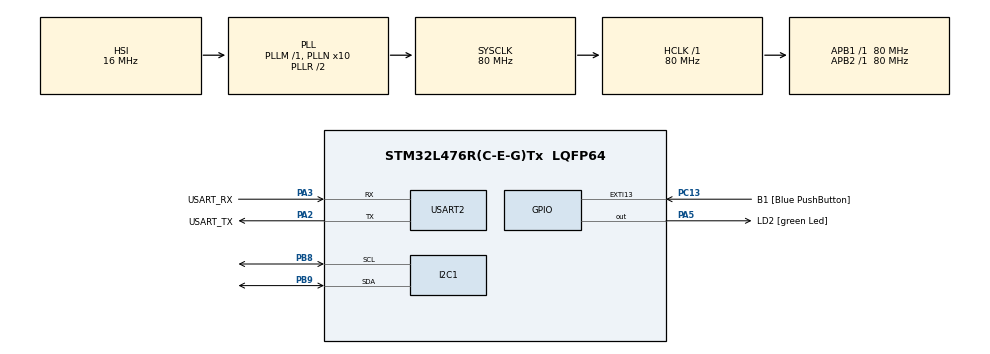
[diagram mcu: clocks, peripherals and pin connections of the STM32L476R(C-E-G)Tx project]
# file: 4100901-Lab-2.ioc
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I2C1.Timing=0x10D19CE4
Mcu.Family=STM32L4
Mcu.Name=STM32L476R(C-E-G)Tx
Mcu.Package=LQFP64
NVIC.EXTI15_10_IRQn=true\:0\:0\:false\:false\:true\:true\:true\:true
NVIC.PriorityGroup=NVIC_PRIORITYGROUP_4
NVIC.USART2_IRQn=true\:0\:0\:false\:false\:true\:true\:true\:true
PA13\ (JTMS-SWDIO).GPIO_Label=TMS
PA13\ (JTMS-SWDIO).Mode=Serial_Wire
PA13\ (JTMS-SWDIO).Signal=SYS_JTMS-SWDIO
PA14\ (JTCK-SWCLK).GPIO_Label=TCK
PA14\ (JTCK-SWCLK).Mode=Serial_Wire
PA14\ (JTCK-SWCLK).Signal=SYS_JTCK-SWCLK
PA2.GPIO_Label=USART_TX
PA2.GPIO_Mode=GPIO_MODE_AF_PP
PA2.GPIO_PuPd=GPIO_NOPULL
PA2.GPIO_Speed=GPIO_SPEED_FREQ_VERY_HIGH
PA2.Mode=Asynchronous
PA2.Signal=USART2_TX
PA3.GPIO_Label=USART_RX
PA3.GPIO_Mode=GPIO_MODE_AF_PP
PA3.GPIO_PuPd=GPIO_NOPULL
PA3.GPIO_Speed=GPIO_SPEED_FREQ_VERY_HIGH
PA3.Mode=Asynchronous
PA3.Signal=USART2_RX
PA5.GPIO_Label=LD2 [green Led]
PA5.GPIO_ModeDefaultOutputPP=GPIO_MODE_OUTPUT_PP
PA5.GPIO_PuPd=GPIO_NOPULL
PA5.GPIO_Speed=GPIO_SPEED_FREQ_LOW
PA5.Signal=GPIO_Output
PB3\ (JTDO-TRACESWO).GPIO_Label=SWO
PB3\ (JTDO-TRACESWO).Signal=SYS_JTDO-SWO
PB8.Mode=I2C
PB8.Signal=I2C1_SCL
PB9.Mode=I2C
PB9.Signal=I2C1_SDA
PC13.GPIO_Label=B1 [Blue PushButton]
PC13.GPIO_ModeDefaultEXTI=GPIO_MODE_IT_FALLING
PC13.GPIO_PuPd=GPIO_NOPULL
PC13.Signal=GPXTI13
PC14-OSC32_IN\ (PC14).Mode=LSE-External-Oscillator
PC14-OSC32_IN\ (PC14).Signal=RCC_OSC32_IN
PC15-OSC32_OUT\ (PC15).Mode=LSE-External-Oscillator
PC15-OSC32_OUT\ (PC15).Signal=RCC_OSC32_OUT
PH0-OSC_IN\ (PH0).Signal=RCC_OSC_IN
PH1-OSC_OUT\ (PH1).Signal=RCC_OSC_OUT
ProjectManager.HeapSize=0x200
ProjectManager.StackSize=0x400
ProjectManager.TargetToolchain=CMake
RCC.ADCFreq_Value=64000000
RCC.AHBFreq_Value=80000000
RCC.APB1Freq_Value=80000000
RCC.APB1TimFreq_Value=80000000
RCC.APB2Freq_Value=80000000
RCC.APB2TimFreq_Value=80000000
RCC.CortexFreq_Value=80000000
RCC.HCLKFreq_Value=80000000
RCC.HSE_VALUE=8000000
RCC.HSI_VALUE=16000000
RCC.MSI_VALUE=4000000
RCC.PLLN=10
RCC.PLLSourceVirtual=RCC_PLLSOURCE_HSI
RCC.PREFETCH_ENABLE=1
RCC.SYSCLKFreq_VALUE=80000000
RCC.SYSCLKSource=RCC_SYSCLKSOURCE_PLLCLK
RCC.USBFreq_Value=64000000
RCC.VCOOutputFreq_Value=160000000
USART2.VirtualMode-Asynchronous=VM_ASYNC
board=NUCLEO-L476RG

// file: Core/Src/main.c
/* USER CODE BEGIN Header */
/**
  ******************************************************************************
  * @file           : main.c
  * @brief          : Main program body
  ******************************************************************************
  * @attention
  *
  * Copyright (c) 2025 STMicroelectronics.
  * All rights reserved.
  *
  * This software is licensed under terms that can be found in the LICENSE file
  * in the root directory of this software component.
  * If no LICENSE file comes with this software, it is provided AS-IS.
  *
  ******************************************************************************
  */
/* USER CODE END Header */
#include "main.h"

/* USER CODE BEGIN Includes */
#include <stdio.h>
#include "ssd1306.h"
#include "ssd1306_fonts.h"

/* USER CODE END Includes */

I2C_HandleTypeDef hi2c1;

UART_HandleTypeDef huart2;

/* USER CODE BEGIN PV */
uint8_t button_pressed = 0;

/* USER CODE END PV */

void SystemClock_Config(void);
static void MX_GPIO_Init(void);
static void MX_I2C1_Init(void);
static void MX_USART2_UART_Init(void);
/* USER CODE BEGIN PFP */
void low_power_sleep_mode(void);

/* USER CODE END PFP */

/* USER CODE BEGIN 0 */
int _write(int file, char *ptr, int len)
{
  (void)file;
  HAL_UART_Transmit(&huart2, (uint8_t *)ptr, len, 10);
  return len;
}

void HAL_GPIO_EXTI_Callback(uint16_t GPIO_Pin)
{
	if (GPIO_Pin == B1_Pin) {
		button_pressed = 1;
	}
}

void hearbeat(void)
{
	static uint32_t tick = 0;
	if (tick < HAL_GetTick()) {
		tick = HAL_GetTick() + 500;
		HAL_GPIO_TogglePin(LD2_GPIO_Port, LD2_Pin);
	}
}
/* USER CODE END 0 */

int main(void)
{

  /* MCU Configuration--------------------------------------------------------*/

  /* Reset of all peripherals, Initializes the Flash interface and the Systick. */
  HAL_Init();

  /* Configure the system clock */
  SystemClock_Config();

  /* Initialize all configured peripherals */
  MX_GPIO_Init();
  MX_I2C1_Init();
  MX_USART2_UART_Init();
  /* USER CODE BEGIN 2 */
  ssd1306_Init();
  ssd1306_Fill(Black);
  ssd1306_UpdateScreen();

  /* USER CODE END 2 */

  /* Infinite loop */
  /* USER CODE BEGIN WHILE */
  uint8_t press_count = 0;
  char str[2] = {press_count + '0', 0};

  ssd1306_SetCursor(50, 30);
  ssd1306_WriteString(str, Font_11x18, White);
  ssd1306_UpdateScreen();
  printf("Press count: %d\n", press_count);
  while (1) {
    hearbeat();
    if (button_pressed != 0) {
      press_count = (press_count + 1) % 10;
      button_pressed = 0;
      str[0] = press_count + '0';

      ssd1306_SetCursor(50, 30);
      ssd1306_WriteString(str, Font_11x18, White);
      ssd1306_UpdateScreen();
      printf("Press count: %d\n", press_count);
    }
    /* USER CODE END WHILE */

    /* USER CODE BEGIN 3 */
#define LOW_POWER_MODE 0 // 0: Normal, 1: Low Power Mode
#if LOW_POWER_MODE
    low_power_sleep_mode();
#endif
  }
  /* USER CODE END 3 */
}

void SystemClock_Config(void)
{
  RCC_OscInitTypeDef RCC_OscInitStruct = {0};
  RCC_ClkInitTypeDef RCC_ClkInitStruct = {0};

  /** Configure the main internal regulator output voltage
  */
  if (HAL_PWREx_ControlVoltageScaling(PWR_REGULATOR_VOLTAGE_SCALE1) != HAL_OK)
  {
    Error_Handler();
  }

  /** Initializes the RCC Oscillators according to the specified parameters
  * in the RCC_OscInitTypeDef structure.
  */
  RCC_OscInitStruct.OscillatorType = RCC_OSCILLATORTYPE_HSI;
  RCC_OscInitStruct.HSIState = RCC_HSI_ON;
  RCC_OscInitStruct.HSICalibrationValue = RCC_HSICALIBRATION_DEFAULT;
  RCC_OscInitStruct.PLL.PLLState = RCC_PLL_ON;
  RCC_OscInitStruct.PLL.PLLSource = RCC_PLLSOURCE_HSI;
  RCC_OscInitStruct.PLL.PLLM = 1;
  RCC_OscInitStruct.PLL.PLLN = 10;
  RCC_OscInitStruct.PLL.PLLP = RCC_PLLP_DIV7;
  RCC_OscInitStruct.PLL.PLLQ = RCC_PLLQ_DIV2;
  RCC_OscInitStruct.PLL.PLLR = RCC_PLLR_DIV2;
  if (HAL_RCC_OscConfig(&RCC_OscInitStruct) != HAL_OK)
  {
    Error_Handler();
  }

  /** Initializes the CPU, AHB and APB buses clocks
  */
  RCC_ClkInitStruct.ClockType = RCC_CLOCKTYPE_HCLK|RCC_CLOCKTYPE_SYSCLK
                              |RCC_CLOCKTYPE_PCLK1|RCC_CLOCKTYPE_PCLK2;
  RCC_ClkInitStruct.SYSCLKSource = RCC_SYSCLKSOURCE_PLLCLK;
  RCC_ClkInitStruct.AHBCLKDivider = RCC_SYSCLK_DIV1;
  RCC_ClkInitStruct.APB1CLKDivider = RCC_HCLK_DIV1;
  RCC_ClkInitStruct.APB2CLKDivider = RCC_HCLK_DIV1;

  if (HAL_RCC_ClockConfig(&RCC_ClkInitStruct, FLASH_LATENCY_4) != HAL_OK)
  {
    Error_Handler();
  }
}

static void MX_I2C1_Init(void)
{

  hi2c1.Instance = I2C1;
  hi2c1.Init.Timing = 0x10D19CE4;
  hi2c1.Init.OwnAddress1 = 0;
  hi2c1.Init.AddressingMode = I2C_ADDRESSINGMODE_7BIT;
  hi2c1.Init.DualAddressMode = I2C_DUALADDRESS_DISABLE;
  hi2c1.Init.OwnAddress2 = 0;
  hi2c1.Init.OwnAddress2Masks = I2C_OA2_NOMASK;
  hi2c1.Init.GeneralCallMode = I2C_GENERALCALL_DISABLE;
  hi2c1.Init.NoStretchMode = I2C_NOSTRETCH_DISABLE;
  if (HAL_I2C_Init(&hi2c1) != HAL_OK)
  {
    Error_Handler();
  }

  /** Configure Analogue filter
  */
  if (HAL_I2CEx_ConfigAnalogFilter(&hi2c1, I2C_ANALOGFILTER_ENABLE) != HAL_OK)
  {
    Error_Handler();
  }

  /** Configure Digital filter
  */
  if (HAL_I2CEx_ConfigDigitalFilter(&hi2c1, 0) != HAL_OK)
  {
    Error_Handler();
  }

}

static void MX_USART2_UART_Init(void)
{

  huart2.Instance = USART2;
  huart2.Init.BaudRate = 115200;
  huart2.Init.WordLength = UART_WORDLENGTH_8B;
  huart2.Init.StopBits = UART_STOPBITS_1;
  huart2.Init.Parity = UART_PARITY_NONE;
  huart2.Init.Mode = UART_MODE_TX_RX;
  huart2.Init.HwFlowCtl = UART_HWCONTROL_NONE;
  huart2.Init.OverSampling = UART_OVERSAMPLING_16;
  huart2.Init.OneBitSampling = UART_ONE_BIT_SAMPLE_DISABLE;
  huart2.AdvancedInit.AdvFeatureInit = UART_ADVFEATURE_NO_INIT;
  if (HAL_UART_Init(&huart2) != HAL_OK)
  {
    Error_Handler();
  }

}

static void MX_GPIO_Init(void)
{
  GPIO_InitTypeDef GPIO_InitStruct = {0};

  /* GPIO Ports Clock Enable */
  __HAL_RCC_GPIOC_CLK_ENABLE();
  __HAL_RCC_GPIOH_CLK_ENABLE();
  __HAL_RCC_GPIOA_CLK_ENABLE();
  __HAL_RCC_GPIOB_CLK_ENABLE();

  /*Configure GPIO pin Output Level */
  HAL_GPIO_WritePin(LD2_GPIO_Port, LD2_Pin, GPIO_PIN_RESET);

  /*Configure GPIO pin : B1_Pin */
  GPIO_InitStruct.Pin = B1_Pin;
  GPIO_InitStruct.Mode = GPIO_MODE_IT_FALLING;
  GPIO_InitStruct.Pull = GPIO_NOPULL;
  HAL_GPIO_Init(B1_GPIO_Port, &GPIO_InitStruct);

  /*Configure GPIO pin : LD2_Pin */
  GPIO_InitStruct.Pin = LD2_Pin;
  GPIO_InitStruct.Mode = GPIO_MODE_OUTPUT_PP;
  GPIO_InitStruct.Pull = GPIO_NOPULL;
  GPIO_InitStruct.Speed = GPIO_SPEED_FREQ_LOW;
  HAL_GPIO_Init(LD2_GPIO_Port, &GPIO_InitStruct);

  /* EXTI interrupt init*/
  HAL_NVIC_SetPriority(EXTI15_10_IRQn, 0, 0);
  HAL_NVIC_EnableIRQ(EXTI15_10_IRQn);

}

/* USER CODE BEGIN 4 */
void low_power_sleep_mode(void)
{
#define AWAKE_TIME (5 * 1000) // 5 segundos
	static uint32_t sleep_tick = AWAKE_TIME;

	if (sleep_tick > HAL_GetTick()) {
		return;
	}
	printf("Sleeping\r\n");
	sleep_tick = HAL_GetTick() + AWAKE_TIME;

	RCC->AHB1SMENR  = 0x0;
	RCC->AHB2SMENR  = 0x0;
	RCC->AHB3SMENR  = 0x0;

	RCC->APB1SMENR1 = 0x0;
	RCC->APB1SMENR2 = 0x0;
	RCC->APB2SMENR  = 0x0;

	/*Suspend Tick increment to prevent wakeup by Systick interrupt.
	Otherwise the Systick interrupt will wake up the device within 1ms (HAL time base)*/
	HAL_SuspendTick();

	/* Enter Sleep Mode , wake up is done once User push-button is pressed */
	HAL_PWR_EnterSLEEPMode(PWR_MAINREGULATOR_ON, PWR_SLEEPENTRY_WFI);

	/* Resume Tick interrupt if disabled prior to SLEEP mode entry */
	HAL_ResumeTick();

	printf("Awake\r\n");
}

/* USER CODE END 4 */

void Error_Handler(void)
{
  __disable_irq();
  while (1)
  {
  }
}
